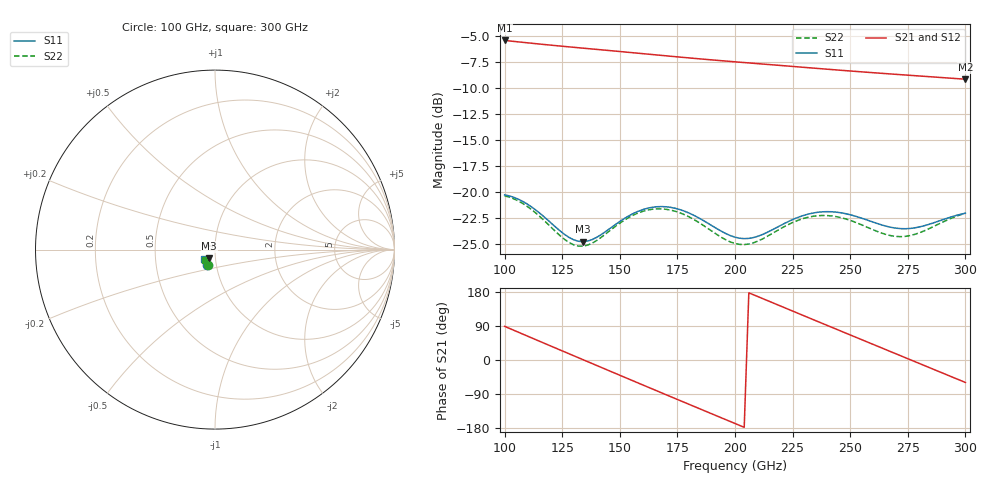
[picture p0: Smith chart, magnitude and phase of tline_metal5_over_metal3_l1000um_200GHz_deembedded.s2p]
! Created with skrf 2.2.0 (http://scikit-rf.org).
# GHz S DB R 50.0
! Port[1] = P1
! Port[2] = P2
!freq dBS11 angS11 dBS21 angS21 dBS12 angS12 dBS22 angS22
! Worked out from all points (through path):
!   101 points, 100 GHz to 300 GHz, reference 50 ohm
!   highest |S21| = -5.42 dB at 100 GHz (marker M1); lowest = -9.1 dB at 300 GHz (marker M2)
!   group delay of S21, straight-line fit = 7.05 ps
!   lowest |S11| = -24.8 dB at 134 GHz (marker M3), VSWR 1.12, Z = 46.6 - j4.46 ohm
!   |S11| at or under -10 dB: start of sweep to end of sweep
!   |S22| runs from -25.2 to -20.4 dB; largest |S21 - S12| = 6e-14
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100  -20.26 -116.6  -5.42 88.9  -5.42 88.9  -20.36 -115.5
108  -20.91 -126.5  -5.60 68.0  -5.60 68.0  -21.11 -125.8
118  -22.54 -134.0  -5.83 42.2  -5.83 42.2  -22.91 -133.1
126  -24.07 -132.6  -6.00 21.5  -6.00 21.5  -24.54 -130.8
134  -24.77 -124.4  -6.16 0.9  -6.16 0.9  -25.20 -121.3
142  -24.08 -117.0  -6.32 -19.7  -6.32 -19.7  -24.34 -113.6
152  -22.54 -117.0  -6.52 -45.4  -6.52 -45.4  -22.69 -114.5
160  -21.68 -122.6  -6.69 -65.9  -6.69 -65.9  -21.85 -120.7
168  -21.39 -130.0  -6.85 -86.3  -6.85 -86.3  -21.61 -128.6
182  -22.22 -141.3  -7.14 -121.9  -7.14 -121.9  -22.62 -140.3
192  -23.50 -143.3  -7.33 -147.3  -7.33 -147.3  -24.06 -141.7
200  -24.34 -139.3  -7.47 -167.6  -7.47 -167.6  -24.94 -136.5
208  -24.37 -132.7  -7.62 172.2  -7.62 172.2  -24.88 -128.9
216  -23.65 -128.5  -7.76 151.9  -7.76 151.9  -24.00 -124.8
226  -22.55 -129.6  -7.94 126.6  -7.94 126.6  -22.83 -126.6
234  -22.01 -133.7  -8.08 106.5  -8.08 106.5  -22.32 -131.3
242  -21.89 -138.7  -8.22 86.3  -8.22 86.3  -22.29 -136.7
250  -22.18 -143.0  -8.36 66.2  -8.36 66.2  -22.72 -140.9
260  -22.89 -145.1  -8.52 41.1  -8.52 41.1  -23.63 -142.1
268  -23.40 -143.4  -8.65 21.0  -8.65 21.0  -24.20 -138.7
284  -23.11 -137.0  -8.90 -19.2  -8.90 -19.2  -23.54 -129.6
300  -22.03 -139.2  -9.15 -59.3  -9.15 -59.3  -22.04 -132.5
